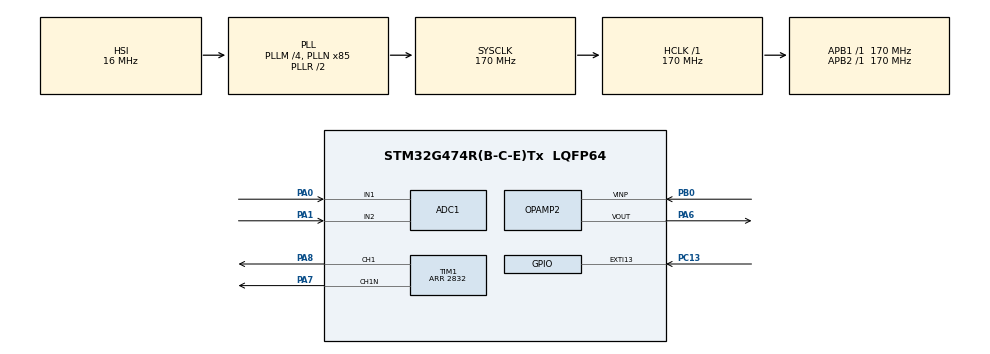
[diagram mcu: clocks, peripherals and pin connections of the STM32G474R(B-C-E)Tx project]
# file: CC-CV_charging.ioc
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ADC1.Channel-0\#ChannelRegularConversion=ADC_CHANNEL_1
ADC1.Channel-1\#ChannelRegularConversion=ADC_CHANNEL_2
ADC1.DMAContinuousRequests=ENABLE
ADC1.EOCSelection=ADC_EOC_SEQ_CONV
ADC1.ExternalTrigConv=ADC_EXTERNALTRIG_T1_TRGO
ADC1.NbrOfConversion=2
ADC1.NbrOfConversionFlag=1
ADC1.OffsetNumber-0\#ChannelRegularConversion=ADC_OFFSET_NONE
ADC1.OffsetNumber-1\#ChannelRegularConversion=ADC_OFFSET_NONE
ADC1.Overrun=ADC_OVR_DATA_OVERWRITTEN
ADC1.Rank-0\#ChannelRegularConversion=1
ADC1.Rank-1\#ChannelRegularConversion=2
ADC1.SamplingTime-0\#ChannelRegularConversion=ADC_SAMPLETIME_2CYCLES_5
ADC1.SamplingTime-1\#ChannelRegularConversion=ADC_SAMPLETIME_2CYCLES_5
ADC1.master=1
Dma.ADC1.0.Direction=DMA_PERIPH_TO_MEMORY
Dma.ADC1.0.EventEnable=DISABLE
Dma.ADC1.0.Instance=DMA1_Channel1
Dma.ADC1.0.MemDataAlignment=DMA_MDATAALIGN_HALFWORD
Dma.ADC1.0.MemInc=DMA_MINC_ENABLE
Dma.ADC1.0.Mode=DMA_CIRCULAR
Dma.ADC1.0.PeriphDataAlignment=DMA_PDATAALIGN_HALFWORD
Dma.ADC1.0.PeriphInc=DMA_PINC_DISABLE
Dma.ADC1.0.Polarity=HAL_DMAMUX_REQ_GEN_RISING
Dma.ADC1.0.Priority=DMA_PRIORITY_HIGH
Dma.ADC1.0.RequestNumber=1
Dma.ADC1.0.SignalID=NONE
Dma.ADC1.0.SyncEnable=DISABLE
Dma.ADC1.0.SyncPolarity=HAL_DMAMUX_SYNC_NO_EVENT
Dma.ADC1.0.SyncRequestNumber=1
Dma.ADC1.0.SyncSignalID=NONE
Dma.Request0=ADC1
Mcu.Family=STM32G4
Mcu.Name=STM32G474R(B-C-E)Tx
Mcu.Package=LQFP64
NVIC.DMA1_Channel1_IRQn=true\:0\:0\:false\:false\:true\:false\:true\:true
NVIC.EXTI15_10_IRQn=true\:0\:0\:false\:false\:true\:true\:true\:true
NVIC.PriorityGroup=NVIC_PRIORITYGROUP_4
OPAMP2.PgaGain=OPAMP_PGA_GAIN_4_OR_MINUS_3
OPAMP2.PowerMode=OPAMP_POWERMODE_HIGHSPEED
PA0.Mode=IN1-Single-Ended
PA0.Signal=ADC1_IN1
PA1.Mode=IN2-Single-Ended
PA1.Signal=ADC1_IN2
PA6.Mode=PGA Not Connected
PA6.Signal=OPAMP2_VOUT
PA7.Mode=PWM Generation1 CH1 CH1N
PA7.Signal=TIM1_CH1N
PA8.Signal=S_TIM1_CH1
PB0.Mode=PGA Not Connected
PB0.Signal=OPAMP2_VINP
PC13.GPIO_ModeDefaultEXTI=GPIO_MODE_IT_FALLING
PC13.Signal=GPXTI13
ProjectManager.HeapSize=0x200
ProjectManager.StackSize=0x400
ProjectManager.TargetToolchain=STM32CubeIDE
RCC.ADC12Freq_Value=170000000
RCC.ADC345Freq_Value=170000000
RCC.AHBFreq_Value=170000000
RCC.APB1Freq_Value=170000000
RCC.APB1TimFreq_Value=170000000
RCC.APB2Freq_Value=170000000
RCC.APB2TimFreq_Value=170000000
RCC.CortexFreq_Value=170000000
RCC.EXTERNAL_CLOCK_VALUE=12288000
RCC.HCLKFreq_Value=170000000
RCC.HSE_VALUE=8000000
RCC.HSI48_VALUE=48000000
RCC.HSI_VALUE=16000000
RCC.LSE_VALUE=32768
RCC.PLLM=RCC_PLLM_DIV4
RCC.PLLN=85
RCC.SYSCLKFreq_VALUE=170000000
RCC.SYSCLKSource=RCC_SYSCLKSOURCE_PLLCLK
RCC.USBFreq_Value=170000000
RCC.VCOOutputFreq_Value=340000000
SH.S_TIM1_CH1.0=TIM1_CH1,PWM Generation1 CH1 CH1N
TIM1.Channel-PWM\ Generation1\ CH1\ CH1N=TIM_CHANNEL_1
TIM1.CounterMode=TIM_COUNTERMODE_UP
TIM1.DeadTime=17
TIM1.DeadTimePreload=DISABLE
TIM1.PeriodNoDither=2832
TIM1.PulseNoDither_1=680
TIM1.TIM_MasterOutputTrigger=TIM_TRGO_UPDATE
VP_SYS_VS_DBSignals.Mode=DisableDeadBatterySignals
VP_TIM1_VS_ClockSourceINT.Mode=Internal
board=custom

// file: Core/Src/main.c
/* USER CODE BEGIN Header */
/**
  ******************************************************************************
  * @file           : main.c
  * @brief          : Main program body
  ******************************************************************************
  * @attention
  *
  * Copyright (c) 2026 STMicroelectronics.
  * All rights reserved.
  *
  * This software is licensed under terms that can be found in the LICENSE file
  * in the root directory of this software component.
  * If no LICENSE file comes with this software, it is provided AS-IS.
  *
  ******************************************************************************
  */
/* USER CODE END Header */
#include "main.h"

ADC_HandleTypeDef hadc1;
DMA_HandleTypeDef hdma_adc1;

OPAMP_HandleTypeDef hopamp2;

TIM_HandleTypeDef htim1;

/* USER CODE BEGIN PV */

/* ===== ADC scaling ===== */
float ADC_MAX_COUNTS = 4095.0f;
float ADC_REF_VOLT = 3.3f;

float VOUT_DIVIDER_RATIO = 0.024f;

float RSHUNT_OHMS = 0.02f;
float OPAMP_GAIN = 4.0f;

float DUTY_MIN_F = 0.05f;
float DUTY_MAX_F =  0.48f;
float duty = 0.0f;

/* ===== ADC DMA buffer =====
   Rank1 = Voltage (PA0 / ADC1_IN1)
   Rank2 = Current  (PB0 / ADC1_IN2 through OPAMP2)
*/
uint16_t adc_buf[2] = {0, 0};

/* ===== CC-CV targets ===== */
float Vref = 72.0f;
float Iref = 5.0f;
float kp_i = 0.05f;
float ki_i = 90.0f;
float kp_v = 0.05f;
float ki_v = 60.0f;
float Ts  =  0.00001667f;// for 60KHz

float Vout = 0.0f;
float Iout = 0.0f;

float Iout_f = 0.0f;
float Vout_f = 0.0f;
float alpha = 0.2f;

float c_fact = 1.34f;

float Vst = 0.0f;

float err_v = 0.0f;
float err_i = 0.0f;
float Iref_sat = 0.0f;

float integral_i = 0.0f;
float integral_v = 0.0f;

int count = 0;
int flag = 0;

/* Forward declarations */
static float adc_to_voltage(uint16_t raw);
static float adc_to_current(uint16_t raw);
static void charger_control_task(void);
static void charger_start(void);

/* USER CODE END PV */

void SystemClock_Config(void);
static void MX_GPIO_Init(void);
static void MX_DMA_Init(void);
static void MX_ADC1_Init(void);
static void MX_TIM1_Init(void);
static void MX_OPAMP2_Init(void);

/* USER CODE BEGIN 0 */
static float adc_to_voltage(uint16_t raw)
{
    float vadc = ((float)raw * ADC_REF_VOLT) / ADC_MAX_COUNTS;
    return vadc / VOUT_DIVIDER_RATIO;
}

static float adc_to_current(uint16_t raw)
{
    float vadc = ((float)raw * ADC_REF_VOLT) / ADC_MAX_COUNTS;
    return (vadc * c_fact) / (RSHUNT_OHMS * OPAMP_GAIN);
}

static void charger_control_task(void)
{
    /* Copy DMA-updated values */
    uint16_t v_raw = adc_buf[0];
    uint16_t i_raw = adc_buf[1];

    /* Convert to physical units */
    Vout = adc_to_voltage(v_raw);
    Iout = adc_to_current(i_raw);

    Iout_f = alpha * Iout + (1 - alpha) * Iout_f;
    Vout_f = alpha * Vout + (1 - alpha) * Vout_f;

    uint32_t arr = __HAL_TIM_GET_AUTORELOAD(&htim1);

//    CV

//    if(Vst < Vref) Vst += Vref * Ts; // Soft Start
//    err_v = Vst - Vout_f; // This is for slow start
//    integral_v += err_v*Ts;
//    if(integral_v >  DUTY_MAX_F /ki_v) integral_v = DUTY_MAX_F /ki_v;
//	duty = kp_v*err_v + ki_v*integral_v;
//    if(duty > DUTY_MAX_F) duty = DUTY_MAX_F;
//	if(duty < DUTY_MIN_F) duty = DUTY_MIN_F;

//    CC

//    err_i = Iref - Iout_f;
//	integral_i += err_i*Ts;
//	if(integral_i > DUTY_MAX_F /ki_i) integral_i = DUTY_MAX_F /ki_i;
//	duty = kp_i*err_i + ki_i*integral_i;
//	if(duty > DUTY_MAX_F) duty = DUTY_MAX_F;
//	if(duty < DUTY_MIN_F) duty = DUTY_MIN_F;

//    CC-CV
	if((Vst < Vref) && (flag == 1)) Vst += Vref * Ts/2.0f; // Soft Start

    err_v = Vst - Vout_f; // This is for slow start
    if(flag == 1) integral_v += err_v*Ts;
    if(integral_v >  Iref /ki_v) integral_v = Iref /ki_v;
    if(integral_v < -Iref / ki_v)  integral_v = -Iref / ki_v;
	Iref_sat = kp_v*err_v + ki_v*integral_v;
	if(Iref_sat > Iref) Iref_sat = Iref;
	if(Iref_sat < 0.0f) Iref_sat = 0.0f;

	err_i = Iref_sat - Iout_f;
	if(flag == 1) integral_i += err_i*Ts;
    if(integral_i > DUTY_MAX_F /ki_i) integral_i = DUTY_MAX_F /ki_i;
    if(integral_i < -DUTY_MAX_F / ki_i)  integral_i = -DUTY_MAX_F / ki_i;
    duty = kp_i*err_i + ki_i*integral_i;
    if(duty > DUTY_MAX_F) duty = DUTY_MAX_F;
	if(duty < DUTY_MIN_F) duty = DUTY_MIN_F;
	if(flag == 0) duty = DUTY_MIN_F;

    __HAL_TIM_SET_COMPARE(&htim1, TIM_CHANNEL_1, (uint32_t)(duty * (float)arr));
}
void HAL_GPIO_EXTI_Callback(uint16_t GPIO_Pin)
{
    if (GPIO_Pin == GPIO_PIN_13)
    {
       count++;
       flag = 1;
       if(count % 2 == 0){
    	   Vst = 0;
    	   flag = 0;
    	   integral_v = 0;
    	   integral_i = 0;
       }
    }
}
/* DMA completion callback:
   called after the full 2-sample ADC sequence is transferred */
void HAL_ADC_ConvCpltCallback(ADC_HandleTypeDef *hadc)
{
    if (hadc->Instance == ADC1)
    {
        charger_control_task();
    }
}

static void charger_start(void)
{
    /* Start the internal OPAMP first */
    HAL_OPAMP_Start(&hopamp2);

    /* Calibrate ADC once before starting conversions */
    HAL_ADCEx_Calibration_Start(&hadc1, ADC_SINGLE_ENDED);

    /* Start ADC in DMA mode:
       CubeMX DMA settings: circular, half-word, peripheral-to-memory */
    HAL_ADC_Start_DMA(&hadc1, (uint32_t *)adc_buf, 2);

    /* Start TIM1 PWM outputs */
    HAL_TIM_PWM_Start(&htim1, TIM_CHANNEL_1);
    HAL_TIMEx_PWMN_Start(&htim1, TIM_CHANNEL_1);

    uint32_t arr = __HAL_TIM_GET_AUTORELOAD(&htim1);
    __HAL_TIM_SET_COMPARE(&htim1, TIM_CHANNEL_1, (uint32_t)(duty * (float)arr));

    /* Ensure advanced timer outputs are enabled */
    __HAL_TIM_MOE_ENABLE(&htim1);

}

/* USER CODE END 0 */

int main(void)
{

  /* MCU Configuration--------------------------------------------------------*/

  /* Reset of all peripherals, Initializes the Flash interface and the Systick. */
  HAL_Init();

  /* Configure the system clock */
  SystemClock_Config();

  /* Initialize all configured peripherals */
  MX_GPIO_Init();
  MX_DMA_Init();
  MX_ADC1_Init();
  MX_TIM1_Init();
  MX_OPAMP2_Init();
  /* USER CODE BEGIN 2 */
  charger_start();
  /* USER CODE END 2 */

  /* Infinite loop */
  while (1)
  {

  }
}

void SystemClock_Config(void)
{
  RCC_OscInitTypeDef RCC_OscInitStruct = {0};
  RCC_ClkInitTypeDef RCC_ClkInitStruct = {0};

  /** Configure the main internal regulator output voltage
  */
  HAL_PWREx_ControlVoltageScaling(PWR_REGULATOR_VOLTAGE_SCALE1_BOOST);

  /** Initializes the RCC Oscillators according to the specified parameters
  * in the RCC_OscInitTypeDef structure.
  */
  RCC_OscInitStruct.OscillatorType = RCC_OSCILLATORTYPE_HSI;
  RCC_OscInitStruct.HSIState = RCC_HSI_ON;
  RCC_OscInitStruct.HSICalibrationValue = RCC_HSICALIBRATION_DEFAULT;
  RCC_OscInitStruct.PLL.PLLState = RCC_PLL_ON;
  RCC_OscInitStruct.PLL.PLLSource = RCC_PLLSOURCE_HSI;
  RCC_OscInitStruct.PLL.PLLM = RCC_PLLM_DIV4;
  RCC_OscInitStruct.PLL.PLLN = 85;
  RCC_OscInitStruct.PLL.PLLP = RCC_PLLP_DIV2;
  RCC_OscInitStruct.PLL.PLLQ = RCC_PLLQ_DIV2;
  RCC_OscInitStruct.PLL.PLLR = RCC_PLLR_DIV2;
  if (HAL_RCC_OscConfig(&RCC_OscInitStruct) != HAL_OK)
  {
    Error_Handler();
  }

  /** Initializes the CPU, AHB and APB buses clocks
  */
  RCC_ClkInitStruct.ClockType = RCC_CLOCKTYPE_HCLK|RCC_CLOCKTYPE_SYSCLK
                              |RCC_CLOCKTYPE_PCLK1|RCC_CLOCKTYPE_PCLK2;
  RCC_ClkInitStruct.SYSCLKSource = RCC_SYSCLKSOURCE_PLLCLK;
  RCC_ClkInitStruct.AHBCLKDivider = RCC_SYSCLK_DIV1;
  RCC_ClkInitStruct.APB1CLKDivider = RCC_HCLK_DIV1;
  RCC_ClkInitStruct.APB2CLKDivider = RCC_HCLK_DIV1;

  if (HAL_RCC_ClockConfig(&RCC_ClkInitStruct, FLASH_LATENCY_4) != HAL_OK)
  {
    Error_Handler();
  }
}

static void MX_ADC1_Init(void)
{

  ADC_MultiModeTypeDef multimode = {0};
  ADC_ChannelConfTypeDef sConfig = {0};

  /** Common config
  */
  hadc1.Instance = ADC1;
  hadc1.Init.ClockPrescaler = ADC_CLOCK_SYNC_PCLK_DIV4;
  hadc1.Init.Resolution = ADC_RESOLUTION_12B;
  hadc1.Init.DataAlign = ADC_DATAALIGN_RIGHT;
  hadc1.Init.GainCompensation = 0;
  hadc1.Init.ScanConvMode = ADC_SCAN_ENABLE;
  hadc1.Init.EOCSelection = ADC_EOC_SEQ_CONV;
  hadc1.Init.LowPowerAutoWait = DISABLE;
  hadc1.Init.ContinuousConvMode = DISABLE;
  hadc1.Init.NbrOfConversion = 2;
  hadc1.Init.DiscontinuousConvMode = DISABLE;
  hadc1.Init.ExternalTrigConv = ADC_EXTERNALTRIG_T1_TRGO;
  hadc1.Init.ExternalTrigConvEdge = ADC_EXTERNALTRIGCONVEDGE_RISING;
  hadc1.Init.DMAContinuousRequests = ENABLE;
  hadc1.Init.Overrun = ADC_OVR_DATA_OVERWRITTEN;
  hadc1.Init.OversamplingMode = DISABLE;
  if (HAL_ADC_Init(&hadc1) != HAL_OK)
  {
    Error_Handler();
  }

  /** Configure the ADC multi-mode
  */
  multimode.Mode = ADC_MODE_INDEPENDENT;
  if (HAL_ADCEx_MultiModeConfigChannel(&hadc1, &multimode) != HAL_OK)
  {
    Error_Handler();
  }

  /** Configure Regular Channel
  */
  sConfig.Channel = ADC_CHANNEL_1;
  sConfig.Rank = ADC_REGULAR_RANK_1;
  sConfig.SamplingTime = ADC_SAMPLETIME_2CYCLES_5;
  sConfig.SingleDiff = ADC_SINGLE_ENDED;
  sConfig.OffsetNumber = ADC_OFFSET_NONE;
  sConfig.Offset = 0;
  if (HAL_ADC_ConfigChannel(&hadc1, &sConfig) != HAL_OK)
  {
    Error_Handler();
  }

  /** Configure Regular Channel
  */
  sConfig.Channel = ADC_CHANNEL_2;
  sConfig.Rank = ADC_REGULAR_RANK_2;
  if (HAL_ADC_ConfigChannel(&hadc1, &sConfig) != HAL_OK)
  {
    Error_Handler();
  }

}

static void MX_OPAMP2_Init(void)
{

  hopamp2.Instance = OPAMP2;
  hopamp2.Init.PowerMode = OPAMP_POWERMODE_HIGHSPEED;
  hopamp2.Init.Mode = OPAMP_PGA_MODE;
  hopamp2.Init.NonInvertingInput = OPAMP_NONINVERTINGINPUT_IO2;
  hopamp2.Init.InternalOutput = DISABLE;
  hopamp2.Init.TimerControlledMuxmode = OPAMP_TIMERCONTROLLEDMUXMODE_DISABLE;
  hopamp2.Init.PgaConnect = OPAMP_PGA_CONNECT_INVERTINGINPUT_NO;
  hopamp2.Init.PgaGain = OPAMP_PGA_GAIN_4_OR_MINUS_3;
  hopamp2.Init.UserTrimming = OPAMP_TRIMMING_FACTORY;
  if (HAL_OPAMP_Init(&hopamp2) != HAL_OK)
  {
    Error_Handler();
  }

}

static void MX_TIM1_Init(void)
{

  TIM_ClockConfigTypeDef sClockSourceConfig = {0};
  TIM_MasterConfigTypeDef sMasterConfig = {0};
  TIM_OC_InitTypeDef sConfigOC = {0};
  TIM_BreakDeadTimeConfigTypeDef sBreakDeadTimeConfig = {0};

  htim1.Instance = TIM1;
  htim1.Init.Prescaler = 0;
  htim1.Init.CounterMode = TIM_COUNTERMODE_UP;
  htim1.Init.Period = 2832;
  htim1.Init.ClockDivision = TIM_CLOCKDIVISION_DIV1;
  htim1.Init.RepetitionCounter = 0;
  htim1.Init.AutoReloadPreload = TIM_AUTORELOAD_PRELOAD_DISABLE;
  if (HAL_TIM_Base_Init(&htim1) != HAL_OK)
  {
    Error_Handler();
  }
  sClockSourceConfig.ClockSource = TIM_CLOCKSOURCE_INTERNAL;
  if (HAL_TIM_ConfigClockSource(&htim1, &sClockSourceConfig) != HAL_OK)
  {
    Error_Handler();
  }
  if (HAL_TIM_PWM_Init(&htim1) != HAL_OK)
  {
    Error_Handler();
  }
  sMasterConfig.MasterOutputTrigger = TIM_TRGO_UPDATE;
  sMasterConfig.MasterOutputTrigger2 = TIM_TRGO2_RESET;
  sMasterConfig.MasterSlaveMode = TIM_MASTERSLAVEMODE_DISABLE;
  if (HAL_TIMEx_MasterConfigSynchronization(&htim1, &sMasterConfig) != HAL_OK)
  {
    Error_Handler();
  }
  sConfigOC.OCMode = TIM_OCMODE_PWM1;
  sConfigOC.Pulse = 680;
  sConfigOC.OCPolarity = TIM_OCPOLARITY_HIGH;
  sConfigOC.OCNPolarity = TIM_OCNPOLARITY_HIGH;
  sConfigOC.OCFastMode = TIM_OCFAST_DISABLE;
  sConfigOC.OCIdleState = TIM_OCIDLESTATE_RESET;
  sConfigOC.OCNIdleState = TIM_OCNIDLESTATE_RESET;
  if (HAL_TIM_PWM_ConfigChannel(&htim1, &sConfigOC, TIM_CHANNEL_1) != HAL_OK)
  {
    Error_Handler();
  }
  sBreakDeadTimeConfig.OffStateRunMode = TIM_OSSR_DISABLE;
  sBreakDeadTimeConfig.OffStateIDLEMode = TIM_OSSI_DISABLE;
  sBreakDeadTimeConfig.LockLevel = TIM_LOCKLEVEL_OFF;
  sBreakDeadTimeConfig.DeadTime = 17;
  sBreakDeadTimeConfig.BreakState = TIM_BREAK_DISABLE;
  sBreakDeadTimeConfig.BreakPolarity = TIM_BREAKPOLARITY_HIGH;
  sBreakDeadTimeConfig.BreakFilter = 0;
  sBreakDeadTimeConfig.BreakAFMode = TIM_BREAK_AFMODE_INPUT;
  sBreakDeadTimeConfig.Break2State = TIM_BREAK2_DISABLE;
  sBreakDeadTimeConfig.Break2Polarity = TIM_BREAK2POLARITY_HIGH;
  sBreakDeadTimeConfig.Break2Filter = 0;
  sBreakDeadTimeConfig.Break2AFMode = TIM_BREAK_AFMODE_INPUT;
  sBreakDeadTimeConfig.AutomaticOutput = TIM_AUTOMATICOUTPUT_DISABLE;
  if (HAL_TIMEx_ConfigBreakDeadTime(&htim1, &sBreakDeadTimeConfig) != HAL_OK)
  {
    Error_Handler();
  }
  HAL_TIM_MspPostInit(&htim1);

}

static void MX_DMA_Init(void)
{

  /* DMA controller clock enable */
  __HAL_RCC_DMAMUX1_CLK_ENABLE();
  __HAL_RCC_DMA1_CLK_ENABLE();

  /* DMA interrupt init */
  /* DMA1_Channel1_IRQn interrupt configuration */
  HAL_NVIC_SetPriority(DMA1_Channel1_IRQn, 0, 0);
  HAL_NVIC_EnableIRQ(DMA1_Channel1_IRQn);

}

static void MX_GPIO_Init(void)
{
  GPIO_InitTypeDef GPIO_InitStruct = {0};

  /* GPIO Ports Clock Enable */
  __HAL_RCC_GPIOC_CLK_ENABLE();
  __HAL_RCC_GPIOA_CLK_ENABLE();
  __HAL_RCC_GPIOB_CLK_ENABLE();

  /*Configure GPIO pin : PC13 */
  GPIO_InitStruct.Pin = GPIO_PIN_13;
  GPIO_InitStruct.Mode = GPIO_MODE_IT_FALLING;
  GPIO_InitStruct.Pull = GPIO_NOPULL;
  HAL_GPIO_Init(GPIOC, &GPIO_InitStruct);

  /* EXTI interrupt init*/
  HAL_NVIC_SetPriority(EXTI15_10_IRQn, 0, 0);
  HAL_NVIC_EnableIRQ(EXTI15_10_IRQn);

}

void Error_Handler(void)
{
  __disable_irq();
  while (1)
  {
  }
}
